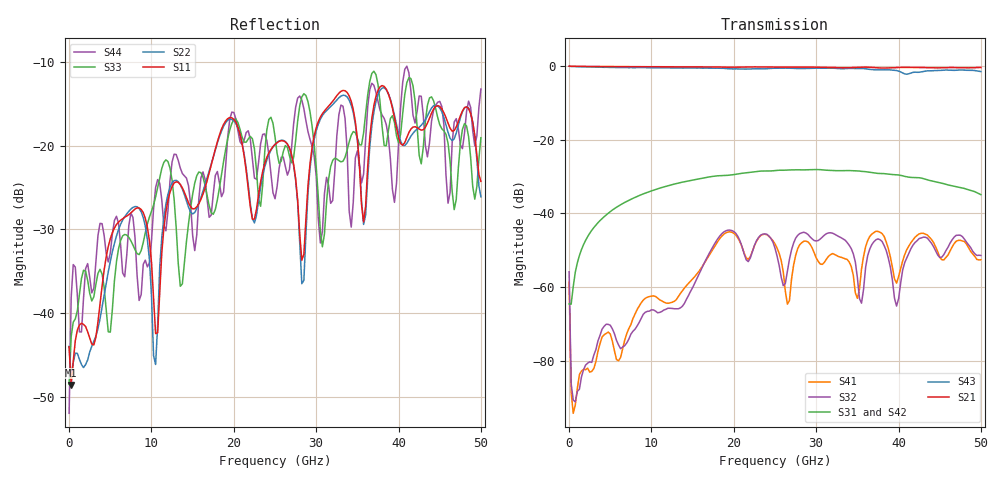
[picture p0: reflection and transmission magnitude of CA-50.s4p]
! MARKI MICROWAVE INC.
! Email:  info@markimicrowave.com  Phone:  408-778-4200
! Model Number:  CA-50  Date:  10/12
! Filename:		CA_50.S4P  Version: 1.0
! Description:  4-port S-parameter data for Directional Coupler CA-50
! Frequency Range: 	10 MHz to 50 GHz
! Port Configuration:	PORT 1: Input, PORT 2: Output Port 3: Coupled and Port 4: Isolated
! S3P File: Measurements: Mag<S11> Ang<S11> Mag<S12> Ang<S12> Mag<S13> Ang<S13> Mag<S14> Ang<S14>! row 1
!  Mag<S21> Ang<S21> Mag<S22> Ang<S22> Mag<S23> Ang<S23> Mag<S24> Ang<S24>! row 2
!  Mag<S31> Ang<S31> Mag<S32> Ang<S32> Mag<S33> Ang<S33> Mag<S34> Ang<S34>! row 3
!  Mag<S41> Ang<S41> Mag<S42> Ang<S42> Mag<S43> Ang<S43> Mag<S44> Ang<S44>! row 4
# GHz S DB R 50
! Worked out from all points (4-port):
!   201 points, 10 MHz to 50 GHz, reference 50 ohm
!   strongest paths, dB at 10 MHz, 12.51 GHz, 25.01 GHz, 37.51 GHz, 50 GHz:
!     S21: 0.0, -0.2, -0.3, -0.5, -0.4
!     S43: 0.0, -0.5, -0.6, -1.0, -1.5
!     S31: -64.6, -32.2, -28.4, -29.1, -34.9
!     S42: -52.4, -32.3, -28.5, -29.2, -35.1
!     S32: -55.9, -65.8, -49.5, -46.9, -51.4
!     S41: -58.7, -64.2, -48.3, -44.9, -52.6
!   lowest |S11| = -48.6 dB at 260 MHz (marker M1), VSWR 1.01, Z = 50.3 + j0.131 ohm
!   |S11| at or under -10 dB: start of sweep to end of sweep
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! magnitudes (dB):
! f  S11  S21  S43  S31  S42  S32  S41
! 10 MHz  -44.0  0.0  0.0  -64.6  -52.4  -55.9  -58.7
! 260 MHz  -48.6  0.0  -0.1  -64.7  -63.4  -86.3  -88.7
! 10.51 GHz  -42.5  -0.2  -0.5  -33.5  -33.6  -66.6  -62.6
! 12.01 GHz  -26.5  -0.2  -0.5  -32.5  -32.6  -65.8  -64.4
! 19.26 GHz  -16.8  -0.3  -0.7  -29.7  -29.7  -44.6  -45.1
! 26.51 GHz  -19.8  -0.3  -0.5  -28.2  -28.3  -55.7  -64.7
! 50 GHz  -24.3  -0.4  -1.5  -34.9  -35.1  -51.4  -52.6
